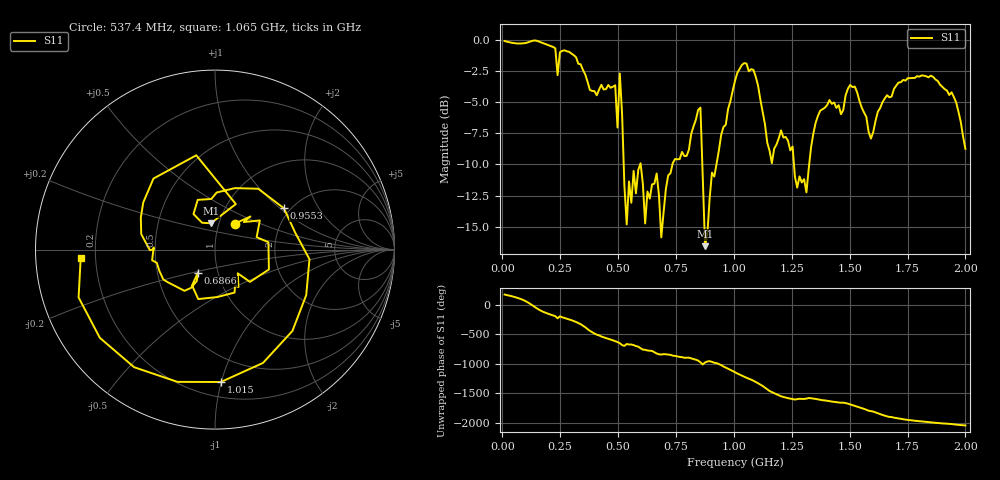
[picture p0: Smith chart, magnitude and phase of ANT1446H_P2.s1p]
!Created with skrf (http://scikit-rf.org).
# Hz S RI R 50.0
!freq ReS11 ImS11
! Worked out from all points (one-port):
!   201 points, 10 MHz to 2 GHz, reference 50 ohm
!   lowest |S11| = -16.6 dB at 875.6 MHz (marker M1), VSWR 1.35, Z = 45.8 + j13.7 ohm
!   |S11| at or under -10 dB: 524.4 MHz to 595.2 MHz (70.76 MHz wide, 12.6 % of centre); 597.7 MHz to 734.9 MHz (137.2 MHz wide, 20.6 % of centre); 1.26 GHz to 1.325 GHz (65.68 MHz wide, 5.08 % of centre) (the widest 3 of 4)
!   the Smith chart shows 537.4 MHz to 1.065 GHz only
!   S11 on the Smith chart (normalised r, x): 537.4 MHz: 1.19, +0.36; 686.6 MHz: 0.80, -0.21; 955.2 MHz: 1.85, +1.06; 1.015 GHz: 0.31, -1.00; 1.065 GHz: 0.14, -0.03
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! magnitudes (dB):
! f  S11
! 10 MHz  -0.1
! 258.8 MHz  -0.9
! 487.6 MHz  -3.6
! 497.6 MHz  -7.0
! 507.5 MHz  -2.7
! 537.4 MHz  -14.8
! 547.3 MHz  -11.4
! 597 MHz  -9.9
! 617 MHz  -14.7
! 666.7 MHz  -10.7
! 686.6 MHz  -15.9
! 756.2 MHz  -9.6
! 855.8 MHz  -5.4
! 875.6 MHz  -16.6
! 905.5 MHz  -10.7
! 955.2 MHz  -7.0
! 1.005 GHz  -3.3
! 1.015 GHz  -2.6
! 1.065 GHz  -2.5
! 1.164 GHz  -9.9
! 1.254 GHz  -8.6
! 1.313 GHz  -12.2
! 1.363 GHz  -6.1
! 1.502 GHz  -3.6
! 1.592 GHz  -7.9
! 1.751 GHz  -3.1
! 1.94 GHz  -4.2
! 2 GHz  -8.7
